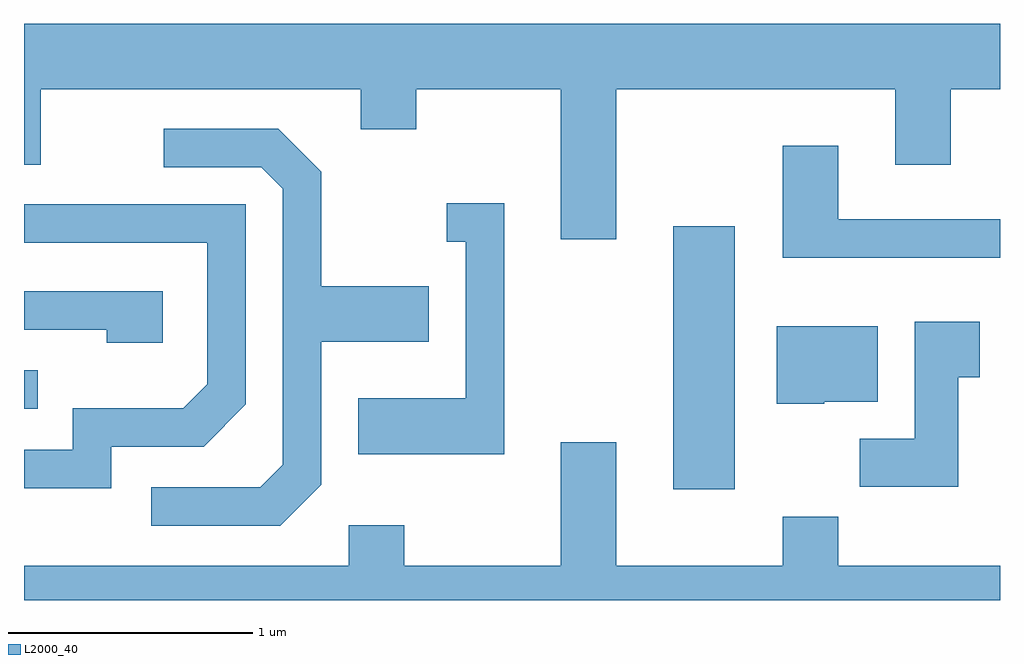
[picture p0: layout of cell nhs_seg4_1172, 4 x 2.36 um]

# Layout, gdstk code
import gdstk
lib = gdstk.Library(unit=1e-6, precision=1e-09)
def R(c, l, rs):  # rectangles x0, y0, x1, y1
    for r in rs: c.add(gdstk.rectangle(r[:2], r[2:], *l))
def P(c, l, *ps):  # polygons
    for p in ps: c.add(gdstk.Polygon(p, *l))
L2000_40 = (2000, 40)

nhs_seg4_1172 = lib.new_cell('nhs_seg4_1172')
R(nhs_seg4_1172, L2000_40, [(222.271,1286.436,222.524,1287.514), (219.611,1286.766,219.668,1286.924)])
P(nhs_seg4_1172, L2000_40, [(222.039,1288.076),(223.181,1288.076),(223.181,1287.766),(223.409,1287.766),(223.409,1288.076),(223.611,1288.076),(223.611,1288.344),(219.611,1288.344),(219.611,1287.766),(219.679,1287.766),(219.679,1288.076),(220.991,1288.076),(220.991,1287.911),(221.219,1287.911),(221.219,1288.076),(221.811,1288.076),(221.811,1287.461),(222.039,1287.461)],
  [(220.829,1286.454),(220.829,1287.041),(221.269,1287.041),(221.269,1287.269),(220.829,1287.269),(220.829,1287.737),(220.652,1287.914),(220.183,1287.914),(220.183,1287.756),(220.584,1287.756),(220.671,1287.669),(220.671,1286.537),(220.579,1286.444),(220.133,1286.444),(220.133,1286.286),(220.662,1286.286)],
  [(223.611,1287.544),(222.949,1287.544),(222.949,1287.844),(222.721,1287.844),(222.721,1287.386),(223.611,1287.386)],
  [(221.579,1287.609),(221.343,1287.609),(221.343,1287.451),(221.421,1287.451),(221.421,1286.809),(220.981,1286.809),(220.981,1286.581),(221.579,1286.581)],
  [(219.969,1286.611),(220.347,1286.611),(220.519,1286.784),(220.519,1287.604),(219.611,1287.604),(219.611,1287.446),(220.361,1287.446),(220.361,1286.867),(220.264,1286.769),(219.811,1286.769),(219.811,1286.599),(219.611,1286.599),(219.611,1286.441),(219.969,1286.441)],
  [(220.179,1287.249),(219.611,1287.249),(219.611,1287.091),(219.951,1287.091),(219.951,1287.036),(220.179,1287.036)],
  [(223.439,1286.896),(223.529,1286.896),(223.529,1287.124),(223.261,1287.124),(223.261,1286.644),(223.036,1286.644),(223.036,1286.446),(223.439,1286.446)],
  [(222.89,1286.796),(223.109,1286.796),(223.109,1287.104),(222.696,1287.104),(222.696,1286.786),(222.89,1286.786)],
  [(223.611,1286.124),(222.949,1286.124),(222.949,1286.324),(222.721,1286.324),(222.721,1286.124),(222.039,1286.124),(222.039,1286.629),(221.811,1286.629),(221.811,1286.124),(221.169,1286.124),(221.169,1286.289),(220.941,1286.289),(220.941,1286.124),(219.611,1286.124),(219.611,1285.982),(223.611,1285.982)])

lib.write_gds('nhs_seg4_1172.gds')
